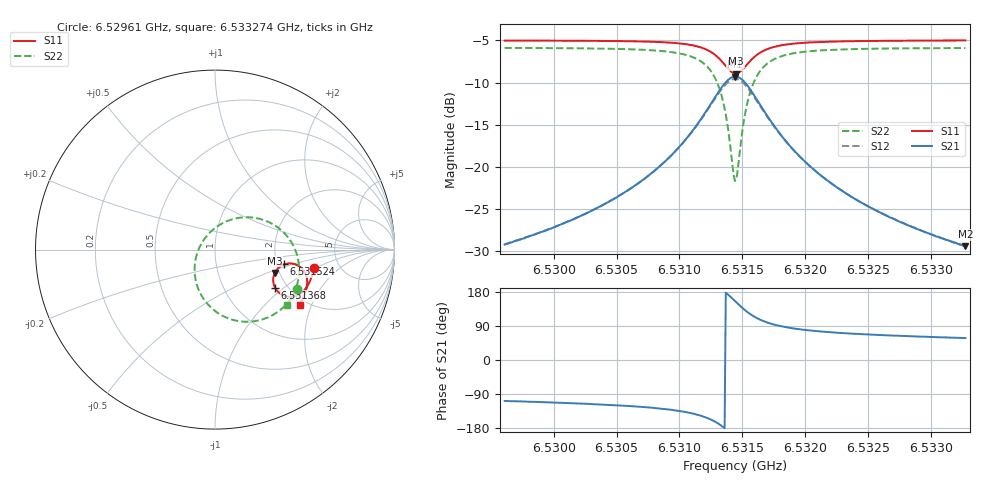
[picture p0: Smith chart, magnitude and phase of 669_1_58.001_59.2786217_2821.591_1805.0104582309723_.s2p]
#  HZ  S  RI  R  50.00
! Rohde & Schwarz Vector Network Analyzer
! Rohde-Schwarz,ZNB20-2Port,1311601062101988,3.16
! Created: UTC 3/21/2024, 1:20:16 AM
! freq[Hz]  re:S11  im:S11  re:S21  im:S21  re:S12  im:S12  re:S22  im:S22
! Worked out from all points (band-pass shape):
!   401 points, 6.52961 GHz to 6.533274 GHz, reference 50 ohm
!   highest |S21| = -9.29 dB at 6.531442 GHz (marker M1); lowest = -29.4 dB at 6.533274 GHz (marker M2)
!   |S21| within 3 dB of the highest: 6.53126 GHz to 6.531627 GHz (367 kHz wide, 0.00562 % of centre)
!   lowest |S11| = -8.9 dB at 6.531451 GHz (marker M3), VSWR 2.11, Z = 94.3 - j28.3 ohm
!   |S11| at or under -10 dB: nowhere
!   |S22| runs from -21.7 to -5.9 dB; largest |S21 - S12| = 0.014
!   S11 on the Smith chart (normalised r, x): 6.52961 GHz: 3.24, -0.96; 6.531368 GHz: 1.73, -0.87; 6.531524 GHz: 2.20, -0.43; 6.533274 GHz: 1.83, -1.64
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6.5296096e9  0.5512 -0.1013  -0.0107 -0.033  -0.0114 -0.0328  0.4579 -0.2184
6.5302234e9  0.5377 -0.1535  -0.022 -0.0467  -0.0232 -0.0462  0.4217 -0.2765
6.5305715e9  0.5238 -0.1871  -0.0366 -0.0611  -0.0382 -0.0601  0.3836 -0.3191
6.5308371e9  0.5049 -0.2176  -0.0611 -0.079  -0.0635 -0.0773  0.3288 -0.3605
6.531057e9  0.4725 -0.2471  -0.1094 -0.0992  -0.1124 -0.095  0.2326 -0.3967
6.5312127e9  0.4215 -0.2626  -0.189 -0.1005  -0.1907 -0.0921  0.0892 -0.3883
6.5313043e9  0.3708 -0.25  -0.2665 -0.0619  -0.2638 -0.0505  -0.0368 -0.308
6.531341e9  0.3488 -0.2323  -0.2988 -0.0254  -0.2923 -0.0137  -0.0836 -0.2405
6.5313684e9  0.3348 -0.2125  -0.3174 0.0127  -0.3084 0.0232  -0.107 -0.174
6.5314234e9  0.3248 -0.1591  -0.3235 0.109  -0.3102 0.1141  -0.0977 -0.0154
6.5314417e9  0.329 -0.1399  -0.3125 0.1419  -0.299 0.1446  -0.074 0.0363
6.5314509e9  0.3327 -0.1308  -0.3047 0.1575  -0.2913 0.1592  -0.0584 0.0603
6.5314692e9  0.3426 -0.114  -0.2848 0.1859  -0.272 0.1851  -0.0209 0.1026
6.5315242e9  0.3859 -0.0822  -0.2051 0.2383  -0.1967 0.2337  0.1183 0.1743
6.5315517e9  0.4091 -0.0773  -0.1644 0.2461  -0.1582 0.2413  0.187 0.1802
6.5315883e9  0.4365 -0.0791  -0.1169 0.243  -0.1131 0.2386  0.2656 0.1665
6.5316799e9  0.4815 -0.1027  -0.0408 0.2065  -0.039 0.2042  0.3886 0.0891
6.5318173e9  0.5072 -0.1426  0.00401 0.1511  0.00529 0.1502  0.4541 -0.0206
6.5320555e9  0.5135 -0.1899  0.0216 0.0959  0.0227 0.0955  0.468 -0.1327
6.5323486e9  0.5067 -0.2278  0.0231 0.0639  0.0242 0.0635  0.4546 -0.2044
6.5326692e9  0.4954 -0.259  0.0214 0.0457  0.0223 0.0454  0.4356 -0.2519
6.5332738e9  0.471 -0.3059  0.018 0.0287  0.0187 0.0284  0.4009 -0.3098
